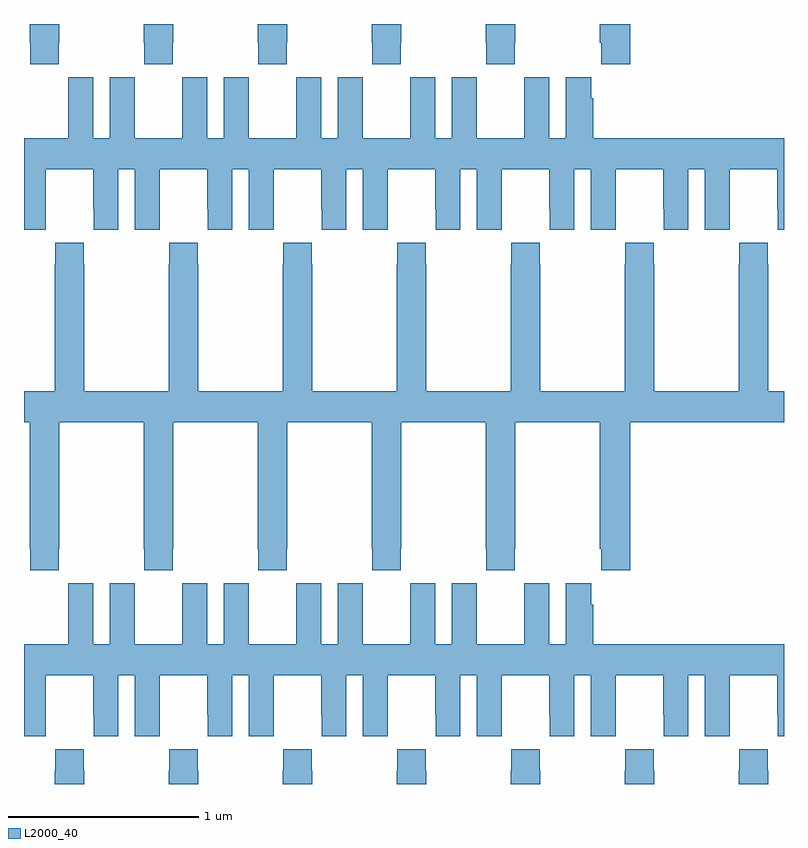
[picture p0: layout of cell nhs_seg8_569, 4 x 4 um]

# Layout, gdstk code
import gdstk
lib = gdstk.Library(unit=1e-6, precision=1e-09)
def P(c, l, *ps):  # polygons
    for p in ps: c.add(gdstk.Polygon(p, *l))
L2000_40 = (2000, 40)

nhs_seg8_569 = lib.new_cell('nhs_seg8_569')
P(nhs_seg8_569, L2000_40, [(147.183,1147.801),(147.186,1147.801),(147.186,1147.9),(147.031,1147.9),(147.031,1147.801),(147.033,1147.801),(147.033,1147.689),(147.183,1147.689)],
  [(147.783,1147.801),(147.786,1147.801),(147.786,1147.9),(147.631,1147.9),(147.631,1147.801),(147.633,1147.801),(147.633,1147.689),(147.783,1147.689)],
  [(150.191,1147.9),(150.031,1147.9),(150.031,1147.801),(150.037,1147.801),(150.037,1147.689),(150.191,1147.689)],
  [(149.583,1147.801),(149.586,1147.801),(149.586,1147.9),(149.431,1147.9),(149.431,1147.801),(149.433,1147.801),(149.433,1147.689),(149.583,1147.689)],
  [(148.983,1147.801),(148.986,1147.801),(148.986,1147.9),(148.831,1147.9),(148.831,1147.801),(148.833,1147.801),(148.833,1147.689),(148.983,1147.689)],
  [(148.383,1147.801),(148.386,1147.801),(148.386,1147.9),(148.231,1147.9),(148.231,1147.801),(148.233,1147.801),(148.233,1147.689),(148.383,1147.689)],
  [(147.114,1146.928),(147.115,1146.928),(147.115,1147.136),(147.365,1147.136),(147.365,1146.928),(147.366,1146.928),(147.366,1146.816),(147.496,1146.816),(147.496,1147.136),(147.584,1147.136),(147.584,1146.816),(147.714,1146.816),(147.714,1146.928),(147.715,1146.928),(147.715,1147.136),(147.965,1147.136),(147.965,1146.928),(147.966,1146.928),(147.966,1146.816),(148.096,1146.816),(148.096,1147.136),(148.184,1147.136),(148.184,1146.816),(148.314,1146.816),(148.314,1146.928),(148.315,1146.928),(148.315,1147.136),(148.565,1147.136),(148.565,1146.928),(148.566,1146.928),(148.566,1146.816),(148.696,1146.816),(148.696,1147.136),(148.784,1147.136),(148.784,1146.816),(148.914,1146.816),(148.914,1146.928),(148.915,1146.928),(148.915,1147.136),(149.165,1147.136),(149.165,1146.928),(149.166,1146.928),(149.166,1146.816),(149.296,1146.816),(149.296,1147.136),(149.384,1147.136),(149.384,1146.816),(149.514,1146.816),(149.514,1146.928),(149.515,1146.928),(149.515,1147.136),(149.765,1147.136),(149.765,1146.928),(149.766,1146.928),(149.766,1146.816),(149.896,1146.816),(149.896,1147.136),(149.984,1147.136),(149.984,1146.816),(150.114,1146.816),(150.114,1146.928),(150.115,1146.928),(150.115,1147.136),(150.365,1147.136),(150.365,1146.928),(150.366,1146.928),(150.366,1146.816),(150.496,1146.816),(150.496,1147.136),(150.584,1147.136),(150.584,1146.816),(150.714,1146.816),(150.714,1146.928),(150.715,1146.928),(150.715,1147.136),(150.965,1147.136),(150.965,1146.928),(150.966,1146.928),(150.966,1146.816),(151,1146.816),(151,1147.3),(149.996,1147.3),(149.996,1147.508),(149.986,1147.508),(149.986,1147.621),(149.852,1147.621),(149.852,1147.3),(149.764,1147.3),(149.764,1147.621),(149.634,1147.621),(149.634,1147.508),(149.633,1147.508),(149.633,1147.3),(149.383,1147.3),(149.383,1147.508),(149.382,1147.508),(149.382,1147.621),(149.252,1147.621),(149.252,1147.3),(149.164,1147.3),(149.164,1147.621),(149.034,1147.621),(149.034,1147.508),(149.033,1147.508),(149.033,1147.3),(148.783,1147.3),(148.783,1147.508),(148.782,1147.508),(148.782,1147.621),(148.652,1147.621),(148.652,1147.3),(148.564,1147.3),(148.564,1147.621),(148.434,1147.621),(148.434,1147.508),(148.433,1147.508),(148.433,1147.3),(148.183,1147.3),(148.183,1147.508),(148.182,1147.508),(148.182,1147.621),(148.052,1147.621),(148.052,1147.3),(147.964,1147.3),(147.964,1147.621),(147.834,1147.621),(147.834,1147.508),(147.833,1147.508),(147.833,1147.3),(147.583,1147.3),(147.583,1147.508),(147.582,1147.508),(147.582,1147.621),(147.452,1147.621),(147.452,1147.3),(147.364,1147.3),(147.364,1147.621),(147.234,1147.621),(147.234,1147.508),(147.233,1147.508),(147.233,1147.3),(147,1147.3),(147,1146.816),(147.114,1146.816)],
  [(147.183,1145.137),(147.186,1145.137),(147.186,1145.804),(147.631,1145.804),(147.631,1145.137),(147.633,1145.137),(147.633,1145.025),(147.783,1145.025),(147.783,1145.137),(147.786,1145.137),(147.786,1145.804),(148.231,1145.804),(148.231,1145.137),(148.233,1145.137),(148.233,1145.025),(148.383,1145.025),(148.383,1145.137),(148.386,1145.137),(148.386,1145.804),(148.831,1145.804),(148.831,1145.137),(148.833,1145.137),(148.833,1145.025),(148.983,1145.025),(148.983,1145.137),(148.986,1145.137),(148.986,1145.804),(149.431,1145.804),(149.431,1145.137),(149.433,1145.137),(149.433,1145.025),(149.583,1145.025),(149.583,1145.137),(149.586,1145.137),(149.586,1145.804),(150.031,1145.804),(150.031,1145.137),(150.037,1145.137),(150.037,1145.025),(150.191,1145.025),(150.191,1145.804),(151,1145.804),(151,1145.968),(150.918,1145.968),(150.918,1146.635),(150.915,1146.635),(150.915,1146.748),(150.765,1146.748),(150.765,1146.635),(150.763,1146.635),(150.763,1145.968),(150.318,1145.968),(150.318,1146.635),(150.315,1146.635),(150.315,1146.748),(150.165,1146.748),(150.165,1146.635),(150.163,1146.635),(150.163,1145.968),(149.718,1145.968),(149.718,1146.635),(149.715,1146.635),(149.715,1146.748),(149.565,1146.748),(149.565,1146.635),(149.563,1146.635),(149.563,1145.968),(149.118,1145.968),(149.118,1146.635),(149.115,1146.635),(149.115,1146.748),(148.965,1146.748),(148.965,1146.635),(148.963,1146.635),(148.963,1145.968),(148.518,1145.968),(148.518,1146.635),(148.515,1146.635),(148.515,1146.748),(148.365,1146.748),(148.365,1146.635),(148.363,1146.635),(148.363,1145.968),(147.918,1145.968),(147.918,1146.635),(147.915,1146.635),(147.915,1146.748),(147.765,1146.748),(147.765,1146.635),(147.763,1146.635),(147.763,1145.968),(147.318,1145.968),(147.318,1146.635),(147.315,1146.635),(147.315,1146.748),(147.165,1146.748),(147.165,1146.635),(147.163,1146.635),(147.163,1145.968),(147,1145.968),(147,1145.804),(147.031,1145.804),(147.031,1145.137),(147.033,1145.137),(147.033,1145.025),(147.183,1145.025)],
  [(148.652,1144.636),(148.564,1144.636),(148.564,1144.957),(148.434,1144.957),(148.434,1144.844),(148.433,1144.844),(148.433,1144.636),(148.183,1144.636),(148.183,1144.844),(148.182,1144.844),(148.182,1144.957),(148.052,1144.957),(148.052,1144.636),(147.964,1144.636),(147.964,1144.957),(147.834,1144.957),(147.834,1144.844),(147.833,1144.844),(147.833,1144.636),(147.583,1144.636),(147.583,1144.844),(147.582,1144.844),(147.582,1144.957),(147.452,1144.957),(147.452,1144.636),(147.364,1144.636),(147.364,1144.957),(147.234,1144.957),(147.234,1144.844),(147.233,1144.844),(147.233,1144.636),(147,1144.636),(147,1144.152),(147.114,1144.152),(147.114,1144.264),(147.115,1144.264),(147.115,1144.472),(147.365,1144.472),(147.365,1144.264),(147.366,1144.264),(147.366,1144.152),(147.496,1144.152),(147.496,1144.472),(147.584,1144.472),(147.584,1144.152),(147.714,1144.152),(147.714,1144.264),(147.715,1144.264),(147.715,1144.472),(147.965,1144.472),(147.965,1144.264),(147.966,1144.264),(147.966,1144.152),(148.096,1144.152),(148.096,1144.472),(148.184,1144.472),(148.184,1144.152),(148.314,1144.152),(148.314,1144.264),(148.315,1144.264),(148.315,1144.472),(148.565,1144.472),(148.565,1144.264),(148.566,1144.264),(148.566,1144.152),(148.696,1144.152),(148.696,1144.472),(148.784,1144.472),(148.784,1144.152),(148.914,1144.152),(148.914,1144.264),(148.915,1144.264),(148.915,1144.472),(149.165,1144.472),(149.165,1144.264),(149.166,1144.264),(149.166,1144.152),(149.296,1144.152),(149.296,1144.472),(149.384,1144.472),(149.384,1144.152),(149.514,1144.152),(149.514,1144.264),(149.515,1144.264),(149.515,1144.472),(149.765,1144.472),(149.765,1144.264),(149.766,1144.264),(149.766,1144.152),(149.896,1144.152),(149.896,1144.472),(149.984,1144.472),(149.984,1144.152),(150.114,1144.152),(150.114,1144.264),(150.115,1144.264),(150.115,1144.472),(150.365,1144.472),(150.365,1144.264),(150.366,1144.264),(150.366,1144.152),(150.496,1144.152),(150.496,1144.472),(150.584,1144.472),(150.584,1144.152),(150.714,1144.152),(150.714,1144.264),(150.715,1144.264),(150.715,1144.472),(150.965,1144.472),(150.965,1144.264),(150.966,1144.264),(150.966,1144.152),(151,1144.152),(151,1144.636),(149.996,1144.636),(149.996,1144.844),(149.986,1144.844),(149.986,1144.957),(149.852,1144.957),(149.852,1144.636),(149.764,1144.636),(149.764,1144.957),(149.634,1144.957),(149.634,1144.844),(149.633,1144.844),(149.633,1144.636),(149.383,1144.636),(149.383,1144.844),(149.382,1144.844),(149.382,1144.957),(149.252,1144.957),(149.252,1144.636),(149.164,1144.636),(149.164,1144.957),(149.034,1144.957),(149.034,1144.844),(149.033,1144.844),(149.033,1144.636),(148.783,1144.636),(148.783,1144.844),(148.782,1144.844),(148.782,1144.957),(148.652,1144.957)],
  [(150.318,1143.971),(150.315,1143.971),(150.315,1144.084),(150.165,1144.084),(150.165,1143.971),(150.163,1143.971),(150.163,1143.9),(150.318,1143.9)],
  [(149.718,1143.971),(149.715,1143.971),(149.715,1144.084),(149.565,1144.084),(149.565,1143.971),(149.563,1143.971),(149.563,1143.9),(149.718,1143.9)],
  [(149.118,1143.971),(149.115,1143.971),(149.115,1144.084),(148.965,1144.084),(148.965,1143.971),(148.963,1143.971),(148.963,1143.9),(149.118,1143.9)],
  [(148.518,1143.971),(148.515,1143.971),(148.515,1144.084),(148.365,1144.084),(148.365,1143.971),(148.363,1143.971),(148.363,1143.9),(148.518,1143.9)],
  [(147.918,1143.971),(147.915,1143.971),(147.915,1144.084),(147.765,1144.084),(147.765,1143.971),(147.763,1143.971),(147.763,1143.9),(147.918,1143.9)],
  [(147.318,1143.971),(147.315,1143.971),(147.315,1144.084),(147.165,1144.084),(147.165,1143.971),(147.163,1143.971),(147.163,1143.9),(147.318,1143.9)],
  [(150.918,1143.971),(150.915,1143.971),(150.915,1144.084),(150.765,1144.084),(150.765,1143.971),(150.763,1143.971),(150.763,1143.9),(150.918,1143.9)])

lib.write_gds('nhs_seg8_569.gds')
